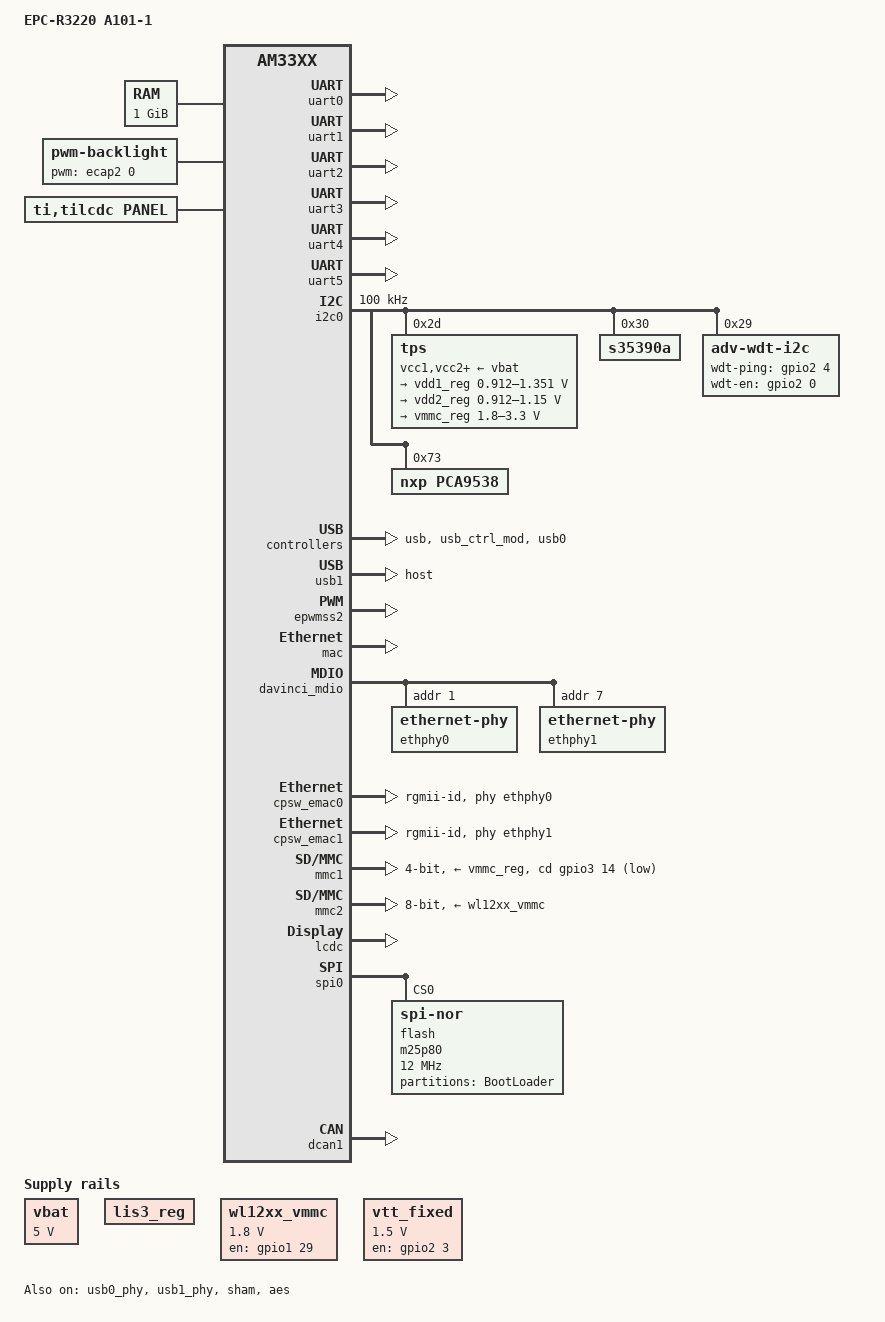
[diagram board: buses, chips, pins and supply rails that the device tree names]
// SPDX-License-Identifier: GPL-2.0-only
/*
 * Copyright (C) 2012 Texas Instruments Incorporated - https://www.ti.com/
 */

/*
 * AM335x Starter Kit
 * http://www.ti.com/tool/tmdssk3358
 */

/dts-v1/;

#include "am33xx.dtsi"
#include <dt-bindings/pwm/pwm.h>
#include <dt-bindings/interrupt-controller/irq.h>

/ {
	model = "EPC-R3220 A101-1";
	compatible = "ti,am335x-evmsk", "ti,am33xx";

	chosen {
		stdout-path = &uart0;
		tick-timer = &timer2;
	};

	cpus {
		cpu@0 {
			cpu0-supply = <&vdd1_reg>;
		};
	};

	memory@80000000 {
		device_type = "memory";
		reg = <0x80000000 0x40000000>; /*2 * 256 MB */
	};

	vbat: fixedregulator0 {
		compatible = "regulator-fixed";
		regulator-name = "vbat";
		regulator-min-microvolt = <5000000>;
		regulator-max-microvolt = <5000000>;
		regulator-boot-on;
	};

	lis3_reg: fixedregulator1 {
		compatible = "regulator-fixed";
		regulator-name = "lis3_reg";
		regulator-boot-on;
	};

	wl12xx_vmmc: fixedregulator2 {
		pinctrl-names = "default";
		pinctrl-0 = <&wl12xx_gpio>;
		compatible = "regulator-fixed";
		regulator-name = "vwl1271";
		regulator-min-microvolt = <1800000>;
		regulator-max-microvolt = <1800000>;
		gpio = <&gpio1 29 0>;
		startup-delay-us = <70000>;
		enable-active-high;
	};

	vtt_fixed: fixedregulator3 {
		compatible = "regulator-fixed";
		regulator-name = "vtt";
		regulator-min-microvolt = <1500000>;
		regulator-max-microvolt = <1500000>;
		gpio = <&gpio2 3 GPIO_ACTIVE_HIGH>;
		regulator-always-on;
		regulator-boot-on;
		enable-active-high;
	};

	backlight {
		compatible = "pwm-backlight";
		pwms = <&ecap2 0 50000 0>;
		brightness-levels = <0 5 30 66 75 90 125 170 255>;
		default-brightness-level = <8>;
	};

	panel {
		compatible = "ti,tilcdc,panel";
		pinctrl-names = "default", "sleep";
		pinctrl-0 = <&lcd_pins_default>;
		pinctrl-1 = <&lcd_pins_sleep>;
		status = "okay";
		panel-info {
			ac-bias           = <255>;
			ac-bias-intrpt    = <0>;
			dma-burst-sz      = <16>;
			bpp               = <32>;
			fdd               = <0x80>;
			sync-edge         = <0>;
			sync-ctrl         = <1>;
			raster-order      = <0>;
			fifo-th           = <0>;
		};
		display-timings {
			800x480 {
				hactive         = <800>;
				vactive         = <480>;
				hback-porch     = <96>;
				hfront-porch    = <24>;
				hsync-len       = <72>;
				vback-porch     = <3>;
				vfront-porch    = <10>;
				vsync-len       = <7>;
				clock-frequency = <29500000>;
				hsync-active    = <0>;
				vsync-active    = <0>;
			};
		};
	};
};

&am33xx_pinmux {
	pinctrl-names = "default";
	pinctrl-0 = <&ddr3_vtt_toggle>;

	ddr3_vtt_toggle: ddr3_vtt_toggle {
		pinctrl-single,pins = <
			/*AM33XX_PADCONF(AM335X_PIN_GPMC_OEN_REN, 0x0, MUX_MODE7)*/	/* gpmc_oen_ren.gpio2_3, OUTPUT | MODE7 */
		>;
	};

	lcd_pins_default: lcd_pins_default {
		pinctrl-single,pins = <
			AM33XX_PADCONF(AM335X_PIN_GPMC_AD14, PIN_OUTPUT, MUX_MODE1)	/* gpmc_ad14.lcd_data17 */
			AM33XX_PADCONF(AM335X_PIN_GPMC_AD15, PIN_OUTPUT, MUX_MODE1)	/* gpmc_ad15.lcd_data16 */
			AM33XX_PADCONF(AM335X_PIN_LCD_DATA0, PIN_OUTPUT, MUX_MODE0)	/* lcd_data0.lcd_data0 */
			AM33XX_PADCONF(AM335X_PIN_LCD_DATA1, PIN_OUTPUT, MUX_MODE0)	/* lcd_data1.lcd_data1 */
			AM33XX_PADCONF(AM335X_PIN_LCD_DATA2, PIN_OUTPUT, MUX_MODE0)	/* lcd_data2.lcd_data2 */
			AM33XX_PADCONF(AM335X_PIN_LCD_DATA3, PIN_OUTPUT, MUX_MODE0)	/* lcd_data3.lcd_data3 */
			AM33XX_PADCONF(AM335X_PIN_LCD_DATA4, PIN_OUTPUT, MUX_MODE0)	/* lcd_data4.lcd_data4 */
			AM33XX_PADCONF(AM335X_PIN_LCD_DATA5, PIN_OUTPUT, MUX_MODE0)	/* lcd_data5.lcd_data5 */
			AM33XX_PADCONF(AM335X_PIN_LCD_DATA6, PIN_OUTPUT, MUX_MODE0)	/* lcd_data6.lcd_data6 */
			AM33XX_PADCONF(AM335X_PIN_LCD_DATA7, PIN_OUTPUT, MUX_MODE0)	/* lcd_data7.lcd_data7 */
			AM33XX_PADCONF(AM335X_PIN_LCD_DATA8, PIN_OUTPUT, MUX_MODE0)	/* lcd_data8.lcd_data8 */
			AM33XX_PADCONF(AM335X_PIN_LCD_DATA9, PIN_OUTPUT, MUX_MODE0)	/* lcd_data9.lcd_data9 */
			AM33XX_PADCONF(AM335X_PIN_LCD_DATA10, PIN_OUTPUT, MUX_MODE0)	/* lcd_data10.lcd_data10 */
			AM33XX_PADCONF(AM335X_PIN_LCD_DATA11, PIN_OUTPUT, MUX_MODE0)	/* lcd_data11.lcd_data11 */
			AM33XX_PADCONF(AM335X_PIN_LCD_DATA12, PIN_OUTPUT, MUX_MODE0)	/* lcd_data12.lcd_data12 */
			AM33XX_PADCONF(AM335X_PIN_LCD_DATA13, PIN_OUTPUT, MUX_MODE0)	/* lcd_data13.lcd_data13 */
			AM33XX_PADCONF(AM335X_PIN_LCD_DATA14, PIN_OUTPUT, MUX_MODE0)	/* lcd_data14.lcd_data14 */
			AM33XX_PADCONF(AM335X_PIN_LCD_DATA15, PIN_OUTPUT, MUX_MODE0)	/* lcd_data15.lcd_data15 */
			AM33XX_PADCONF(AM335X_PIN_LCD_VSYNC, PIN_OUTPUT, MUX_MODE0)	/* lcd_vsync.lcd_vsync */
			AM33XX_PADCONF(AM335X_PIN_LCD_HSYNC, PIN_OUTPUT, MUX_MODE0)	/* lcd_hsync.lcd_hsync */
			AM33XX_PADCONF(AM335X_PIN_LCD_PCLK, PIN_OUTPUT, MUX_MODE0)	/* lcd_pclk.lcd_pclk */
			AM33XX_PADCONF(AM335X_PIN_LCD_AC_BIAS_EN, PIN_OUTPUT, MUX_MODE0)	/* lcd_ac_bias_en.lcd_ac_bias_en */
			AM33XX_PADCONF(AM335X_PIN_MCASP0_FSX, PIN_OUTPUT, MUX_MODE7)	/* mcasp0_fsx.gpio3_15 */
			AM33XX_PADCONF(AM335X_PIN_MCASP0_AXR0, PIN_OUTPUT, MUX_MODE7)	/* mcasp0_axr0.gpio3_16 */
			AM33XX_PADCONF(AM335X_PIN_GPMC_ADVN_ALE, PIN_OUTPUT, MUX_MODE7)	/* gpmc_advn_ale.gpio2_2 */
		>;
	};

	lcd_pins_sleep: lcd_pins_sleep {
		pinctrl-single,pins = <
			AM33XX_PADCONF(AM335X_PIN_GPMC_AD14, PIN_INPUT_PULLDOWN, MUX_MODE7)	/* gpmc_ad14.lcd_data17 */
			AM33XX_PADCONF(AM335X_PIN_GPMC_AD15, PIN_INPUT_PULLDOWN, MUX_MODE7)	/* gpmc_ad15.lcd_data16 */
			AM33XX_PADCONF(AM335X_PIN_LCD_DATA0, PULL_DISABLE, MUX_MODE7)	/* lcd_data0.lcd_data0 */
			AM33XX_PADCONF(AM335X_PIN_LCD_DATA1, PULL_DISABLE, MUX_MODE7)	/* lcd_data1.lcd_data1 */
			AM33XX_PADCONF(AM335X_PIN_LCD_DATA2, PULL_DISABLE, MUX_MODE7)	/* lcd_data2.lcd_data2 */
			AM33XX_PADCONF(AM335X_PIN_LCD_DATA3, PULL_DISABLE, MUX_MODE7)	/* lcd_data3.lcd_data3 */
			AM33XX_PADCONF(AM335X_PIN_LCD_DATA4, PULL_DISABLE, MUX_MODE7)	/* lcd_data4.lcd_data4 */
			AM33XX_PADCONF(AM335X_PIN_LCD_DATA5, PULL_DISABLE, MUX_MODE7)	/* lcd_data5.lcd_data5 */
			AM33XX_PADCONF(AM335X_PIN_LCD_DATA6, PULL_DISABLE, MUX_MODE7)	/* lcd_data6.lcd_data6 */
			AM33XX_PADCONF(AM335X_PIN_LCD_DATA7, PULL_DISABLE, MUX_MODE7)	/* lcd_data7.lcd_data7 */
			AM33XX_PADCONF(AM335X_PIN_LCD_DATA8, PULL_DISABLE, MUX_MODE7)	/* lcd_data8.lcd_data8 */
			AM33XX_PADCONF(AM335X_PIN_LCD_DATA9, PULL_DISABLE, MUX_MODE7)	/* lcd_data9.lcd_data9 */
			AM33XX_PADCONF(AM335X_PIN_LCD_DATA10, PULL_DISABLE, MUX_MODE7)	/* lcd_data10.lcd_data10 */
			AM33XX_PADCONF(AM335X_PIN_LCD_DATA11, PULL_DISABLE, MUX_MODE7)	/* lcd_data11.lcd_data11 */
			AM33XX_PADCONF(AM335X_PIN_LCD_DATA12, PULL_DISABLE, MUX_MODE7)	/* lcd_data12.lcd_data12 */
			AM33XX_PADCONF(AM335X_PIN_LCD_DATA13, PULL_DISABLE, MUX_MODE7)	/* lcd_data13.lcd_data13 */
			AM33XX_PADCONF(AM335X_PIN_LCD_DATA14, PULL_DISABLE, MUX_MODE7)	/* lcd_data14.lcd_data14 */
			AM33XX_PADCONF(AM335X_PIN_LCD_DATA15, PULL_DISABLE, MUX_MODE7)	/* lcd_data15.lcd_data15 */
			AM33XX_PADCONF(AM335X_PIN_LCD_VSYNC, PIN_INPUT_PULLDOWN, MUX_MODE7)	/* lcd_vsync.lcd_vsync */
			AM33XX_PADCONF(AM335X_PIN_LCD_HSYNC, PIN_INPUT_PULLDOWN, MUX_MODE7)	/* lcd_hsync.lcd_hsync */
			AM33XX_PADCONF(AM335X_PIN_LCD_PCLK, PIN_INPUT_PULLDOWN, MUX_MODE7)	/* lcd_pclk.lcd_pclk */
			AM33XX_PADCONF(AM335X_PIN_LCD_AC_BIAS_EN, PIN_INPUT_PULLDOWN, MUX_MODE7)	/* lcd_ac_bias_en.lcd_ac_bias_en */
			AM33XX_PADCONF(AM335X_PIN_MCASP0_FSX, PIN_INPUT_PULLDOWN, MUX_MODE7)	/* mcasp0_fsx.gpio3_15 */
			AM33XX_PADCONF(AM335X_PIN_MCASP0_AXR0, PIN_INPUT_PULLDOWN, MUX_MODE7)	/* mcasp0_axr0.gpio3_16 */
			AM33XX_PADCONF(AM335X_PIN_GPMC_ADVN_ALE, PIN_INPUT_PULLDOWN, MUX_MODE7)	/* gpmc_advn_ale.gpio2_2 */
		>;
	};

	user_leds_default: user_leds_default {
		pinctrl-single,pins = <
			AM33XX_PADCONF(AM335X_PIN_GPMC_AD4, PIN_OUTPUT_PULLDOWN, MUX_MODE7)	/* gpmc_ad4.gpio1_4 */
			AM33XX_PADCONF(AM335X_PIN_GPMC_AD5, PIN_OUTPUT_PULLDOWN, MUX_MODE7)	/* gpmc_ad5.gpio1_5 */
			AM33XX_PADCONF(AM335X_PIN_GPMC_AD6, PIN_OUTPUT_PULLDOWN, MUX_MODE7)	/* gpmc_ad6.gpio1_6 */
			AM33XX_PADCONF(AM335X_PIN_GPMC_AD7, PIN_OUTPUT_PULLDOWN, MUX_MODE7)	/* gpmc_ad7.gpio1_7 */
		>;
	};

	user_leds_sleep: user_leds_sleep {
		pinctrl-single,pins = <
			AM33XX_PADCONF(AM335X_PIN_GPMC_AD4, PIN_INPUT_PULLDOWN, MUX_MODE7)	/* gpmc_a5.gpio1_21 */
			AM33XX_PADCONF(AM335X_PIN_GPMC_AD5, PIN_INPUT_PULLDOWN, MUX_MODE7)	/* gpmc_a6.gpio1_22 */
			AM33XX_PADCONF(AM335X_PIN_GPMC_AD6, PIN_INPUT_PULLDOWN, MUX_MODE7)	/* gpmc_a7.gpio1_23 */
			AM33XX_PADCONF(AM335X_PIN_GPMC_AD7, PIN_INPUT_PULLDOWN, MUX_MODE7)	/* gpmc_a8.gpio1_24 */
		>;
	};

	i2c0_pins: pinmux_i2c0_pins {
		pinctrl-single,pins = <
			AM33XX_PADCONF(AM335X_PIN_I2C0_SDA, PIN_INPUT_PULLUP, MUX_MODE0)	/* i2c0_sda.i2c0_sda */
			AM33XX_PADCONF(AM335X_PIN_I2C0_SCL, PIN_INPUT_PULLUP, MUX_MODE0)	/* i2c0_scl.i2c0_scl */
		>;
	};

	uart0_pins: pinmux_uart0_pins {
		pinctrl-single,pins = <
			AM33XX_PADCONF(AM335X_PIN_UART0_RXD, PIN_INPUT_PULLUP, MUX_MODE0)	/* uart0_rxd.uart0_rxd */
			AM33XX_PADCONF(AM335X_PIN_UART0_TXD, PIN_OUTPUT_PULLDOWN, MUX_MODE0)		/* uart0_txd.uart0_txd */
		>;
	};

	uart1_pins_default: pinmux_uart1_pins_default {
		pinctrl-single,pins = <
			AM33XX_PADCONF(AM335X_PIN_UART1_CTSN, PIN_INPUT, MUX_MODE0)			/* uart1_ctsn.uart1_ctsn */
			AM33XX_PADCONF(AM335X_PIN_UART1_RTSN, PIN_OUTPUT_PULLDOWN, MUX_MODE0)		/* uart1_rtsn.uart1_rtsn */
			AM33XX_PADCONF(AM335X_PIN_UART1_RXD, PIN_INPUT_PULLUP, MUX_MODE0)		/* uart1_rxd.uart1_rxd */
			AM33XX_PADCONF(AM335X_PIN_UART1_TXD, PIN_OUTPUT_PULLDOWN, MUX_MODE0) 	/* uart1_txd.uart1_txd */
		>;
	};

	uart1_pins_sleep: pinmux_uart1_pins_sleep {
		pinctrl-single,pins = <
			AM33XX_PADCONF(AM335X_PIN_UART1_CTSN, PIN_INPUT_PULLDOWN, MUX_MODE7)
			AM33XX_PADCONF(AM335X_PIN_UART1_RTSN, PIN_INPUT_PULLDOWN, MUX_MODE7)
			AM33XX_PADCONF(AM335X_PIN_UART1_RXD, PIN_INPUT_PULLDOWN, MUX_MODE7)
			AM33XX_PADCONF(AM335X_PIN_UART1_TXD, PIN_INPUT_PULLDOWN, MUX_MODE7)
		>;
	};

	uart2_pins_default: pinmux_uart2_pins_default {
		pinctrl-single,pins = <
			AM33XX_PADCONF(AM335X_PIN_MII1_CRS, PIN_INPUT_PULLUP, MUX_MODE6)		/* mii1_crs.uart2_rxd */
			AM33XX_PADCONF(AM335X_PIN_MII1_RX_ER, PIN_OUTPUT_PULLDOWN, MUX_MODE6) 	/* mii1_rxerr.uart2_txd */
		>;
	};

	uart2_pins_sleep: pinmux_uart2_pins_sleep {
		pinctrl-single,pins = <
			AM33XX_PADCONF(AM335X_PIN_MII1_CRS, PIN_INPUT_PULLDOWN, MUX_MODE7)
			AM33XX_PADCONF(AM335X_PIN_MII1_RX_ER, PIN_INPUT_PULLDOWN, MUX_MODE7)
		>;
	};

	uart3_pins_default: pinmux_uart3_pins_default {
		pinctrl-single,pins = <
			AM33XX_PADCONF(AM335X_PIN_SPI0_CS1, PIN_INPUT_PULLUP, MUX_MODE1)		/* spi0_cs1.uart3_rxd */
			AM33XX_PADCONF(AM335X_PIN_ECAP0_IN_PWM0_OUT, PIN_OUTPUT_PULLDOWN, MUX_MODE1) 	/* ecap0_in_pwm0_out.uart3_txd */
		>;
	};

	uart3_pins_sleep: pinmux_uart3_pins_sleep {
		pinctrl-single,pins = <
			AM33XX_PADCONF(AM335X_PIN_SPI0_CS1, PIN_INPUT_PULLDOWN, MUX_MODE7)
			AM33XX_PADCONF(AM335X_PIN_ECAP0_IN_PWM0_OUT, PIN_INPUT_PULLDOWN, MUX_MODE7)
		>;
	};

	uart4_pins_default: pinmux_uart4_pins_default {
		pinctrl-single,pins = <
			AM33XX_PADCONF(AM335X_PIN_GPMC_WAIT0, PIN_INPUT_PULLUP, MUX_MODE6)		/* gpmc_wait0.uart4_rxd */
			AM33XX_PADCONF(AM335X_PIN_GPMC_WPN, PIN_OUTPUT_PULLDOWN, MUX_MODE6) 		/* gpmc_wpn.uart4_txd */
		>;
	};

	uart4_pins_sleep: pinmux_uart4_pins_sleep {
		pinctrl-single,pins = <
			AM33XX_PADCONF(AM335X_PIN_GPMC_WAIT0, PIN_INPUT_PULLDOWN, MUX_MODE7)
			AM33XX_PADCONF(AM335X_PIN_GPMC_WPN, PIN_INPUT_PULLDOWN, MUX_MODE7)
		>;
	};

	uart5_pins_default: pinmux_uart5_pins_default {
		pinctrl-single,pins = <
			AM33XX_PADCONF(AM335X_PIN_MII1_COL, PIN_INPUT_PULLUP, MUX_MODE3)		/* mii1_col.uart5_rxd */
			AM33XX_PADCONF(AM335X_PIN_RMII1_REF_CLK, PIN_OUTPUT_PULLDOWN, MUX_MODE3) 	/* rmii1_refclk.uart5_txd */
		>;
	};

	uart5_pins_sleep: pinmux_uart5_pins_sleep {
		pinctrl-single,pins = <
			AM33XX_PADCONF(AM335X_PIN_MII1_COL, PIN_INPUT_PULLDOWN, MUX_MODE7)
			AM33XX_PADCONF(AM335X_PIN_RMII1_REF_CLK, PIN_INPUT_PULLDOWN, MUX_MODE7)
		>;
	};

	usb0_pins_default: pinmux_usb0_pins {
		pinctrl-single,pins = <
			AM33XX_PADCONF(AM335X_PIN_USB0_DRVVBUS, PIN_OUTPUT_PULLDOWN, MUX_MODE0) /* usb0_drvvbus.usb0_drvvbus */
			AM33XX_PADCONF(AM335X_PIN_USB1_DRVVBUS, PIN_OUTPUT_PULLDOWN, MUX_MODE0) /* usb1_drvvbus.usb1_drvvbus */
		>;
	};

	dcan1_pins_default: dcan1_pins_default {
		pinctrl-single,pins = <
			AM33XX_PADCONF(AM335X_PIN_UART0_CTSN, PIN_OUTPUT, MUX_MODE2) 		/* uart0_ctsn.d_can1_tx */
			AM33XX_PADCONF(AM335X_PIN_UART0_RTSN, PIN_INPUT_PULLDOWN, MUX_MODE2) /* uart0_rtsn.d_can1_rx */
		>;
	};

	clkout2_pin: pinmux_clkout2_pin {
		pinctrl-single,pins = <
			AM33XX_PADCONF(AM335X_PIN_XDMA_EVENT_INTR1, PIN_OUTPUT_PULLDOWN, MUX_MODE3)		/* xdma_event_intr1.clkout2 */
		>;
	};

	ecap2_pins: backlight_pins {
		pinctrl-single,pins = <
			AM33XX_PADCONF(AM335X_PIN_MCASP0_AHCLKR, 0x0, MUX_MODE4)	/* mcasp0_ahclkr.ecap2_in_pwm2_out MODE4 */
		>;
	};

	spi0_pins: pinmux_spi0_pins {
		pinctrl-single,pins = <
			AM33XX_PADCONF(AM335X_PIN_SPI0_SCLK, PIN_INPUT_PULLUP, MUX_MODE0)          /* sspi0_sclk.spi0_sclk */
			AM33XX_PADCONF(AM335X_PIN_SPI0_D0, PIN_INPUT_PULLUP, MUX_MODE0)          /* spi0_d0.spi0_d0 */
			AM33XX_PADCONF(AM335X_PIN_SPI0_D1, PIN_OUTPUT_PULLUP, MUX_MODE0)         /* spi0_d1.spi0_d1 */
			AM33XX_PADCONF(AM335X_PIN_SPI0_CS0, PIN_OUTPUT_PULLUP, MUX_MODE0)         /* spi0_cs0.spi0_cs0 */
		>;
	};

	cpsw_default: cpsw_default {
		pinctrl-single,pins = <
			/* Slave 1 */
			AM33XX_PADCONF(AM335X_PIN_MII1_TX_EN, PIN_OUTPUT_PULLDOWN, MUX_MODE2)	/* mii1_txen.rgmii1_tctl */
			AM33XX_PADCONF(AM335X_PIN_MII1_RX_DV, PIN_INPUT_PULLDOWN, MUX_MODE2)	/* mii1_rxdv.rgmii1_rctl */
			AM33XX_PADCONF(AM335X_PIN_MII1_TXD3, PIN_OUTPUT_PULLDOWN, MUX_MODE2)	/* mii1_txd3.rgmii1_td3 */
			AM33XX_PADCONF(AM335X_PIN_MII1_TXD2, PIN_OUTPUT_PULLDOWN, MUX_MODE2)	/* mii1_txd2.rgmii1_td2 */
			AM33XX_PADCONF(AM335X_PIN_MII1_TXD1, PIN_OUTPUT_PULLDOWN, MUX_MODE2)	/* mii1_txd1.rgmii1_td1 */
			AM33XX_PADCONF(AM335X_PIN_MII1_TXD0, PIN_OUTPUT_PULLDOWN, MUX_MODE2)	/* mii1_txd0.rgmii1_td0 */
			AM33XX_PADCONF(AM335X_PIN_MII1_TX_CLK, PIN_OUTPUT_PULLDOWN, MUX_MODE2)	/* mii1_txclk.rgmii1_tclk */
			AM33XX_PADCONF(AM335X_PIN_MII1_RX_CLK, PIN_INPUT_PULLDOWN, MUX_MODE2)	/* mii1_rxclk.rgmii1_rclk */
			AM33XX_PADCONF(AM335X_PIN_MII1_RXD3, PIN_INPUT_PULLDOWN, MUX_MODE2)	/* mii1_rxd3.rgmii1_rd3 */
			AM33XX_PADCONF(AM335X_PIN_MII1_RXD2, PIN_INPUT_PULLDOWN, MUX_MODE2)	/* mii1_rxd2.rgmii1_rd2 */
			AM33XX_PADCONF(AM335X_PIN_MII1_RXD1, PIN_INPUT_PULLDOWN, MUX_MODE2)	/* mii1_rxd1.rgmii1_rd1 */
			AM33XX_PADCONF(AM335X_PIN_MII1_RXD0, PIN_INPUT_PULLDOWN, MUX_MODE2)	/* mii1_rxd0.rgmii1_rd0 */

			/* Slave 2 */
			AM33XX_PADCONF(AM335X_PIN_GPMC_A0, PIN_OUTPUT_PULLDOWN, MUX_MODE2)	/* gpmc_a0.rgmii2_tctl */
			AM33XX_PADCONF(AM335X_PIN_GPMC_A1, PIN_INPUT_PULLDOWN, MUX_MODE2)	/* gpmc_a1.rgmii2_rctl */
			AM33XX_PADCONF(AM335X_PIN_GPMC_A2, PIN_OUTPUT_PULLDOWN, MUX_MODE2)	/* gpmc_a2.rgmii2_td3 */
			AM33XX_PADCONF(AM335X_PIN_GPMC_A3, PIN_OUTPUT_PULLDOWN, MUX_MODE2)	/* gpmc_a3.rgmii2_td2 */
			AM33XX_PADCONF(AM335X_PIN_GPMC_A4, PIN_OUTPUT_PULLDOWN, MUX_MODE2)	/* gpmc_a4.rgmii2_td1 */
			AM33XX_PADCONF(AM335X_PIN_GPMC_A5, PIN_OUTPUT_PULLDOWN, MUX_MODE2)	/* gpmc_a5.rgmii2_td0 */
			AM33XX_PADCONF(AM335X_PIN_GPMC_A6, PIN_OUTPUT_PULLDOWN, MUX_MODE2)	/* gpmc_a6.rgmii2_tclk */
			AM33XX_PADCONF(AM335X_PIN_GPMC_A7, PIN_INPUT_PULLDOWN, MUX_MODE2)	/* gpmc_a7.rgmii2_rclk */
			AM33XX_PADCONF(AM335X_PIN_GPMC_A8, PIN_INPUT_PULLDOWN, MUX_MODE2)	/* gpmc_a8.rgmii2_rd3 */
			AM33XX_PADCONF(AM335X_PIN_GPMC_A9, PIN_INPUT_PULLDOWN, MUX_MODE2)	/* gpmc_a9.rgmii2_rd2 */
			AM33XX_PADCONF(AM335X_PIN_GPMC_A10, PIN_INPUT_PULLDOWN, MUX_MODE2)	/* gpmc_a10.rgmii2_rd1 */
			AM33XX_PADCONF(AM335X_PIN_GPMC_A11, PIN_INPUT_PULLDOWN, MUX_MODE2)	/* gpmc_a11.rgmii2_rd0 */
		>;
	};

	cpsw_sleep: cpsw_sleep {
		pinctrl-single,pins = <
			/* Slave 1 reset value */
			AM33XX_PADCONF(AM335X_PIN_MII1_TX_EN, PIN_INPUT_PULLDOWN, MUX_MODE7)
			AM33XX_PADCONF(AM335X_PIN_MII1_RX_DV, PIN_INPUT_PULLDOWN, MUX_MODE7)
			AM33XX_PADCONF(AM335X_PIN_MII1_TXD3, PIN_INPUT_PULLDOWN, MUX_MODE7)
			AM33XX_PADCONF(AM335X_PIN_MII1_TXD2, PIN_INPUT_PULLDOWN, MUX_MODE7)
			AM33XX_PADCONF(AM335X_PIN_MII1_TXD1, PIN_INPUT_PULLDOWN, MUX_MODE7)
			AM33XX_PADCONF(AM335X_PIN_MII1_TXD0, PIN_INPUT_PULLDOWN, MUX_MODE7)
			AM33XX_PADCONF(AM335X_PIN_MII1_TX_CLK, PIN_INPUT_PULLDOWN, MUX_MODE7)
			AM33XX_PADCONF(AM335X_PIN_MII1_RX_CLK, PIN_INPUT_PULLDOWN, MUX_MODE7)
			AM33XX_PADCONF(AM335X_PIN_MII1_RXD3, PIN_INPUT_PULLDOWN, MUX_MODE7)
			AM33XX_PADCONF(AM335X_PIN_MII1_RXD2, PIN_INPUT_PULLDOWN, MUX_MODE7)
			AM33XX_PADCONF(AM335X_PIN_MII1_RXD1, PIN_INPUT_PULLDOWN, MUX_MODE7)
			AM33XX_PADCONF(AM335X_PIN_MII1_RXD0, PIN_INPUT_PULLDOWN, MUX_MODE7)

			/* Slave 2 reset value*/
			AM33XX_PADCONF(AM335X_PIN_GPMC_A0, PIN_INPUT_PULLDOWN, MUX_MODE7)
			AM33XX_PADCONF(AM335X_PIN_GPMC_A1, PIN_INPUT_PULLDOWN, MUX_MODE7)
			AM33XX_PADCONF(AM335X_PIN_GPMC_A2, PIN_INPUT_PULLDOWN, MUX_MODE7)
			AM33XX_PADCONF(AM335X_PIN_GPMC_A3, PIN_INPUT_PULLDOWN, MUX_MODE7)
			AM33XX_PADCONF(AM335X_PIN_GPMC_A4, PIN_INPUT_PULLDOWN, MUX_MODE7)
			AM33XX_PADCONF(AM335X_PIN_GPMC_A5, PIN_INPUT_PULLDOWN, MUX_MODE7)
			AM33XX_PADCONF(AM335X_PIN_GPMC_A6, PIN_INPUT_PULLDOWN, MUX_MODE7)
			AM33XX_PADCONF(AM335X_PIN_GPMC_A7, PIN_INPUT_PULLDOWN, MUX_MODE7)
			AM33XX_PADCONF(AM335X_PIN_GPMC_A8, PIN_INPUT_PULLDOWN, MUX_MODE7)
			AM33XX_PADCONF(AM335X_PIN_GPMC_A9, PIN_INPUT_PULLDOWN, MUX_MODE7)
			AM33XX_PADCONF(AM335X_PIN_GPMC_A10, PIN_INPUT_PULLDOWN, MUX_MODE7)
			AM33XX_PADCONF(AM335X_PIN_GPMC_A11, PIN_INPUT_PULLDOWN, MUX_MODE7)
		>;
	};

	davinci_mdio_default: davinci_mdio_default {
		pinctrl-single,pins = <
			/* MDIO */
			AM33XX_PADCONF(AM335X_PIN_MDIO, PIN_INPUT_PULLUP | SLEWCTRL_FAST, MUX_MODE0)	/* mdio_data.mdio_data */
			AM33XX_PADCONF(AM335X_PIN_MDC, PIN_OUTPUT_PULLUP, MUX_MODE0)			/* mdio_clk.mdio_clk */
		>;
	};

	davinci_mdio_sleep: davinci_mdio_sleep {
		pinctrl-single,pins = <
			/* MDIO reset value */
			AM33XX_PADCONF(AM335X_PIN_MDIO, PIN_INPUT_PULLDOWN, MUX_MODE7)
			AM33XX_PADCONF(AM335X_PIN_MDC, PIN_INPUT_PULLDOWN, MUX_MODE7)
		>;
	};

	mmc1_pins: pinmux_mmc1_pins {
		pinctrl-single,pins = <
			AM33XX_PADCONF(AM335X_PIN_MMC0_DAT3, PIN_INPUT_PULLUP, MUX_MODE0)	/* mmc0_dat3.mmc0_dat3 */
			AM33XX_PADCONF(AM335X_PIN_MMC0_DAT2, PIN_INPUT_PULLUP, MUX_MODE0)	/* mmc0_dat2.mmc0_dat2 */
			AM33XX_PADCONF(AM335X_PIN_MMC0_DAT1, PIN_INPUT_PULLUP, MUX_MODE0)	/* mmc0_dat1.mmc0_dat1 */
			AM33XX_PADCONF(AM335X_PIN_MMC0_DAT0, PIN_INPUT_PULLUP, MUX_MODE0)	/* mmc0_dat0.mmc0_dat0 */
			AM33XX_PADCONF(AM335X_PIN_MMC0_CLK, PIN_INPUT_PULLUP, MUX_MODE0)	/* mmc0_clk.mmc0_clk */
			AM33XX_PADCONF(AM335X_PIN_MMC0_CMD, PIN_INPUT_PULLUP, MUX_MODE0)	/* mmc0_cmd.mmc0_cmd */
			AM33XX_PADCONF(AM335X_PIN_MCASP0_ACLKR, PIN_INPUT_PULLUP, MUX_MODE7)	/* mcasp0_aclkr.gpio3_18 */
			AM33XX_PADCONF(AM335X_PIN_MCASP0_ACLKX, PIN_INPUT_PULLUP, MUX_MODE7)	/* mcasp0_aclkx.gpio3_14 */
		>;
	};

	mcasp1_pins: mcasp1_pins {
		pinctrl-single,pins = <
			AM33XX_PADCONF(AM335X_PIN_MII1_CRS, PIN_INPUT_PULLDOWN, MUX_MODE4) /* mii1_crs.mcasp1_aclkx */
			AM33XX_PADCONF(AM335X_PIN_MII1_RX_ER, PIN_INPUT_PULLDOWN, MUX_MODE4) /* mii1_rxerr.mcasp1_fsx */
			AM33XX_PADCONF(AM335X_PIN_MII1_COL, PIN_OUTPUT_PULLDOWN, MUX_MODE4) /* mii1_col.mcasp1_axr2 */
			AM33XX_PADCONF(AM335X_PIN_RMII1_REF_CLK, PIN_INPUT_PULLDOWN, MUX_MODE4) /* rmii1_ref_clk.mcasp1_axr3 */
		>;
	};

	mcasp1_pins_sleep: mcasp1_pins_sleep {
		pinctrl-single,pins = <
			AM33XX_PADCONF(AM335X_PIN_MII1_CRS, PIN_INPUT_PULLDOWN, MUX_MODE7)
			AM33XX_PADCONF(AM335X_PIN_MII1_RX_ER, PIN_INPUT_PULLDOWN, MUX_MODE7)
			AM33XX_PADCONF(AM335X_PIN_MII1_COL, PIN_INPUT_PULLDOWN, MUX_MODE7)
			AM33XX_PADCONF(AM335X_PIN_RMII1_REF_CLK, PIN_INPUT_PULLDOWN, MUX_MODE7)
		>;
	};

	mmc2_pins: pinmux_mmc2_pins {
		pinctrl-single,pins = <
			AM33XX_PADCONF(AM335X_PIN_GPMC_CSN1, PIN_INPUT_PULLUP, MUX_MODE2) /* gpmc_csn1.mmc1_clk */
			AM33XX_PADCONF(AM335X_PIN_GPMC_CSN2, PIN_INPUT_PULLUP, MUX_MODE2) /* gpmc_csn2.mmc1_cmd */
			AM33XX_PADCONF(AM335X_PIN_GPMC_AD0, PIN_INPUT_PULLUP, MUX_MODE1) /* gpmc_ad0.mmc1_dat0 */
			AM33XX_PADCONF(AM335X_PIN_GPMC_AD1, PIN_INPUT_PULLUP, MUX_MODE1) /* gpmc_ad1.mmc1_dat1 */
			AM33XX_PADCONF(AM335X_PIN_GPMC_AD2, PIN_INPUT_PULLUP, MUX_MODE1) /* gpmc_ad2.mmc1_dat2 */
			AM33XX_PADCONF(AM335X_PIN_GPMC_AD3, PIN_INPUT_PULLUP, MUX_MODE1) /* gpmc_ad3.mmc1_dat3 */
			AM33XX_PADCONF(AM335X_PIN_GPMC_AD4, PIN_INPUT_PULLUP, MUX_MODE1) /* gpmc_ad4.mmc1_dat4 */
			AM33XX_PADCONF(AM335X_PIN_GPMC_AD5, PIN_INPUT_PULLUP, MUX_MODE1) /* gpmc_ad5.mmc1_dat5 */
			AM33XX_PADCONF(AM335X_PIN_GPMC_AD6, PIN_INPUT_PULLUP, MUX_MODE1) /* gpmc_ad6.mmc1_dat6 */
			AM33XX_PADCONF(AM335X_PIN_GPMC_AD7, PIN_INPUT_PULLUP, MUX_MODE1) /* gpmc_ad7.mmc1_dat7 */
		>;
	};

	wl12xx_gpio: pinmux_wl12xx_gpio {
		pinctrl-single,pins = <
			AM33XX_PADCONF(AM335X_PIN_GPMC_CSN0, PIN_OUTPUT_PULLUP, MUX_MODE7) /* gpmc_csn0.gpio1_29 */
		>;
	};
};

&uart0 {
	pinctrl-names = "default";
	pinctrl-0 = <&uart0_pins>;

	status = "okay";
};

&uart1 {
	pinctrl-names = "default";
	pinctrl-0 = <&uart1_pins_default>;
	rts-gpio = <&gpio0 13 GPIO_ACTIVE_HIGH>;
	/*rs485-rts-active-high;*/
	rs485-rx-during-tx;
	rs485-rts-delay = <1 0>;
	/*linux,rs485-enabled-at-boot-time;*/
	status = "okay";
};

&uart2 {
	pinctrl-names = "default";
	pinctrl-0 = <&uart2_pins_default>;

	status = "okay";
};

&uart3 {
	pinctrl-names = "default";
	pinctrl-0 = <&uart3_pins_default>;

	status = "okay";
};

&uart4 {
	pinctrl-names = "default";
	pinctrl-0 = <&uart4_pins_default>;

	status = "okay";
};

&uart5 {
	pinctrl-names = "default";
	pinctrl-0 = <&uart5_pins_default>;

	status = "okay";
};

&i2c0 {
	pinctrl-names = "default";
	pinctrl-0 = <&i2c0_pins>;

	status = "okay";
	clock-frequency = <100000>;

	tps: tps@2d {
		reg = <0x2d>;
	};

	s35390a: s35390a@30 {
		compatible = "s35390a";
		reg = <0x30>;
		status = "okay";
	};

	adv-wdt-i2c@29 {
		compatible = "adv-wdt-i2c";
		reg = <0x29>;
		wdt-ping = <&gpio2 4 GPIO_ACTIVE_HIGH>;
		wdt-en = <&gpio2 0 GPIO_ACTIVE_HIGH>;
	};

	pca9538: gpio@73 {
		compatible = "nxp,pca9538";
		reg = <0x73>;
		linux,gpio-base = <200>;
		polarity = <0>;
		status = "okay";
	};
};

&usb {
	status = "okay";
	pinctrl-names = "default";
	pinctrl-0 = <&usb0_pins_default>;	
};

&usb_ctrl_mod {
	status = "okay";
};

&usb0_phy {
	status = "okay";
};

&usb1_phy {
	status = "okay";
};

&usb0 {
	status = "okay";
};

&usb1 {
	status = "okay";
	dr_mode = "host";
};

&cppi41dma  {
	status = "okay";
};

&epwmss2 {
	status = "okay";

	ecap2: pwm@100 {
		status = "okay";
		pinctrl-names = "default";
		pinctrl-0 = <&ecap2_pins>;
	};
};

#include "tps65910.dtsi"

&tps {
	vcc1-supply = <&vbat>;
	vcc2-supply = <&vbat>;
	vcc3-supply = <&vbat>;
	vcc4-supply = <&vbat>;
	vcc5-supply = <&vbat>;
	vcc6-supply = <&vbat>;
	vcc7-supply = <&vbat>;
	vccio-supply = <&vbat>;

	regulators {
		vrtc_reg: regulator@0 {
			regulator-always-on;
		};

		vio_reg: regulator@1 {
			regulator-always-on;
		};

		vdd1_reg: regulator@2 {
			/* VDD_MPU voltage limits 0.95V - 1.26V with +/-4% tolerance */
			regulator-name = "vdd_mpu";
			regulator-min-microvolt = <912500>;
			regulator-max-microvolt = <1351500>;
			regulator-boot-on;
			regulator-always-on;
		};

		vdd2_reg: regulator@3 {
			/* VDD_CORE voltage limits 0.95V - 1.1V with +/-4% tolerance */
			regulator-name = "vdd_core";
			regulator-min-microvolt = <912500>;
			regulator-max-microvolt = <1150000>;
			regulator-boot-on;
			regulator-always-on;
		};

		vdd3_reg: regulator@4 {
			regulator-always-on;
		};

		vdig1_reg: regulator@5 {
			regulator-always-on;
		};

		vdig2_reg: regulator@6 {
			regulator-always-on;
		};

		vpll_reg: regulator@7 {
			regulator-always-on;
		};

		vdac_reg: regulator@8 {
			regulator-always-on;
		};

		vaux1_reg: regulator@9 {
			regulator-always-on;
		};

		vaux2_reg: regulator@10 {
			regulator-always-on;
		};

		vaux33_reg: regulator@11 {
			regulator-always-on;
		};

		vmmc_reg: regulator@12 {
			regulator-min-microvolt = <1800000>;
			regulator-max-microvolt = <3300000>;
			regulator-always-on;
		};
	};
};

&mac {
	pinctrl-names = "default", "sleep";
	pinctrl-0 = <&cpsw_default>;
	pinctrl-1 = <&cpsw_sleep>;
	dual_emac = <1>;
	status = "okay";
};

&davinci_mdio {
	pinctrl-names = "default", "sleep";
	pinctrl-0 = <&davinci_mdio_default>;
	pinctrl-1 = <&davinci_mdio_sleep>;
	status = "okay";

	ethphy0: ethernet-phy@1 {
		reg = <1>;
	};

	ethphy1: ethernet-phy@7 {
		reg = <7>;
	};
};

&cpsw_emac0 {
	phy-handle = <&ethphy0>;
	phy-mode = "rgmii-id";
	dual_emac_res_vlan = <2>;
	status = "okay";
};

&cpsw_emac1 {
	phy-handle = <&ethphy1>;
	phy-mode = "rgmii-id";
	dual_emac_res_vlan = <3>;
	status = "okay";
};

&mmc1 {
	status = "okay";
	vmmc-supply = <&vmmc_reg>;
	bus-width = <4>;
	pinctrl-names = "default";
	pinctrl-0 = <&mmc1_pins>;
	cd-gpios = <&gpio3 14 GPIO_ACTIVE_LOW>;
};

&sham {
	status = "okay";
};

&aes {
	status = "okay";
};

&gpio0 {
	ti,no-reset-on-init;
};

&mmc2 {
	status = "okay";
	vmmc-supply = <&wl12xx_vmmc>;
	ti,non-removable;
	bus-width = <8>;
	cap-power-off-card;
	pinctrl-names = "default";
	pinctrl-0 = <&mmc2_pins>;
};

&mcasp1 {
	#sound-dai-cells = <0>;
	pinctrl-names = "default", "sleep";
	pinctrl-0 = <&mcasp1_pins>;
	pinctrl-1 = <&mcasp1_pins_sleep>;

	status = "disabled";

	op-mode = <0>;          /* MCASP_IIS_MODE */
	tdm-slots = <2>;
	/* 4 serializers */
	serial-dir = <  /* 0: INACTIVE, 1: TX, 2: RX */
		0 0 1 2
	>;
	tx-num-evt = <32>;
	rx-num-evt = <32>;
};

&wdt2 {
	status = "disabled";
};

&tscadc {
	status = "disabled";
	tsc {
		ti,wires = <4>;
		ti,x-plate-resistance = <200>;
		ti,coordinate-readouts = <5>;
		ti,wire-config = <0x00 0x11 0x22 0x33>;
	};
};

&lcdc {
      status = "okay";
};

&spi0 {
	pinctrl-names = "default";
	pinctrl-0 = <&spi0_pins>;
	status = "okay";

	flash: m25p80@0 {
		compatible = "jedec,spi-nor";
		spi-max-frequency = <12000000>;
		reg = <0>;
		#address-cells = <1>;
		#size-cells = <1>;		

		/* MTD partition table.*/
		partition@0 {
		label = "BootLoader";
		reg = <0x00000000 0x00400000>;
		};
	};
};

&dcan1 {
	status = "okay";
	pinctrl-names = "default";
	pinctrl-0 = <&dcan1_pins_default>;
};

&rtc {
	status = "disabled";
};
